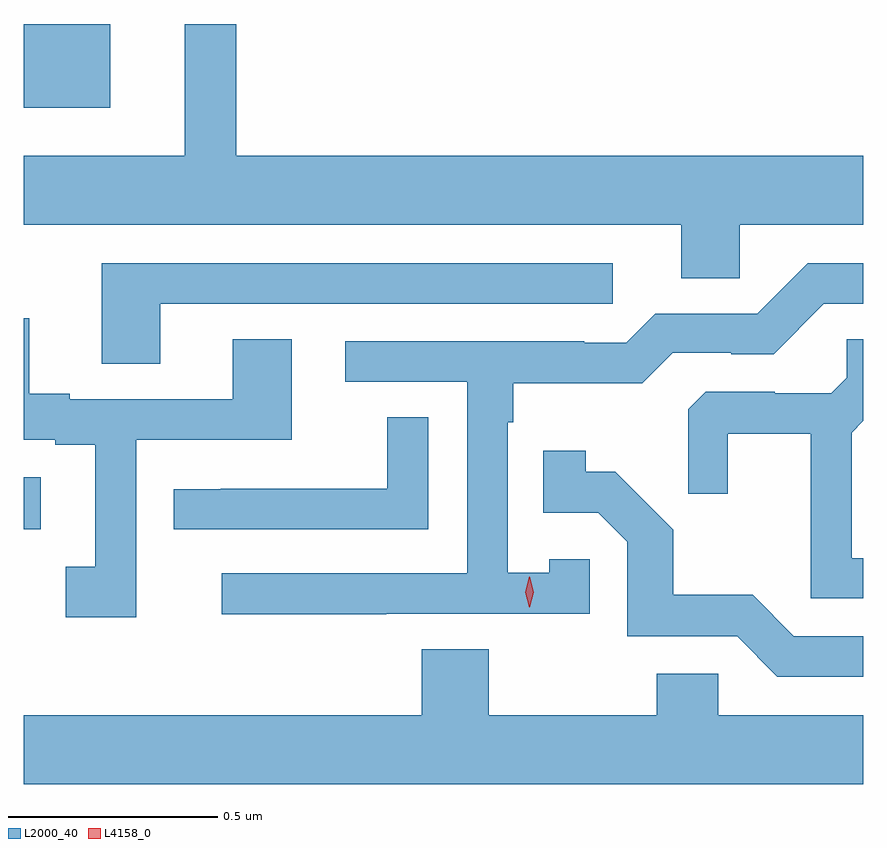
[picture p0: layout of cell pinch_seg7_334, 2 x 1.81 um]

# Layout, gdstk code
import gdstk
lib = gdstk.Library(unit=1e-6, precision=1e-09)
def R(c, l, rs):  # rectangles x0, y0, x1, y1
    for r in rs: c.add(gdstk.rectangle(r[:2], r[2:], *l))
def P(c, l, *ps):  # polygons
    for p in ps: c.add(gdstk.Polygon(p, *l))
L2000_40 = (2000, 40)
L4158_0 = (4158, 0)

pinch_seg7_334 = lib.new_cell('pinch_seg7_334')
R(pinch_seg7_334, L2000_40, [(405.389,1078.479,405.43,1078.603), (405.389,1079.483,405.595,1079.682)])
P(pinch_seg7_334, L2000_40, [(407.094,1079.204),(407.389,1079.204),(407.389,1079.368),(405.895,1079.368),(405.895,1079.682),(405.773,1079.682),(405.773,1079.368),(405.389,1079.368),(405.389,1079.204),(406.955,1079.204),(406.955,1079.077),(407.094,1079.077)],
  [(406.253,1078.278),(406.737,1078.278),(406.737,1078.407),(406.641,1078.407),(406.641,1078.375),(406.542,1078.375),(406.542,1078.733),(406.555,1078.733),(406.555,1078.826),(406.862,1078.826),(406.935,1078.899),(407.074,1078.899),(407.074,1078.896),(407.175,1078.896),(407.295,1079.016),(407.389,1079.016),(407.389,1079.112),(407.256,1079.112),(407.136,1078.992),(406.893,1078.992),(406.824,1078.923),(406.724,1078.923),(406.724,1078.926),(406.155,1078.926),(406.155,1078.83),(406.446,1078.83),(406.446,1078.374),(405.861,1078.374),(405.861,1078.276),(406.253,1078.276)],
  [(405.715,1079.016),(406.792,1079.016),(406.792,1079.112),(405.575,1079.112),(405.575,1078.873),(405.715,1078.873)],
  [(405.657,1078.692),(406.027,1078.692),(406.027,1078.931),(405.887,1078.931),(405.887,1078.788),(405.499,1078.788),(405.499,1078.801),(405.403,1078.801),(405.403,1078.981),(405.389,1078.981),(405.389,1078.692),(405.464,1078.692),(405.464,1078.68),(405.56,1078.68),(405.56,1078.389),(405.489,1078.389),(405.489,1078.269),(405.657,1078.269)],
  [(407.389,1078.41),(407.361,1078.41),(407.361,1078.709),(407.389,1078.737),(407.389,1078.931),(407.349,1078.931),(407.349,1078.84),(407.312,1078.803),(407.178,1078.803),(407.178,1078.806),(407.013,1078.806),(406.972,1078.765),(406.972,1078.563),(407.066,1078.563),(407.066,1078.706),(407.264,1078.706),(407.264,1078.314),(407.389,1078.314)],
  [(406.353,1078.745),(406.255,1078.745),(406.255,1078.575),(405.859,1078.575),(405.859,1078.574),(405.747,1078.574),(405.747,1078.479),(406.353,1078.479)],
  [(407.389,1078.224),(407.223,1078.224),(407.125,1078.323),(406.936,1078.323),(406.936,1078.478),(406.798,1078.616),(406.728,1078.616),(406.728,1078.666),(406.627,1078.666),(406.627,1078.518),(406.758,1078.518),(406.827,1078.449),(406.827,1078.224),(407.088,1078.224),(407.184,1078.128),(407.389,1078.128)],
  [(407.389,1078.036),(407.043,1078.036),(407.043,1078.134),(406.897,1078.134),(406.897,1078.036),(406.497,1078.036),(406.497,1078.193),(406.337,1078.193),(406.337,1078.036),(405.389,1078.036),(405.389,1077.872),(407.389,1077.872)])
P(pinch_seg7_334, L4158_0, [(406.593,1078.293),(406.584,1078.329),(406.593,1078.365),(406.594,1078.365),(406.594,1078.365),(406.604,1078.329),(406.594,1078.293),(406.594,1078.293)])

lib.write_gds('pinch_seg7_334.gds')
